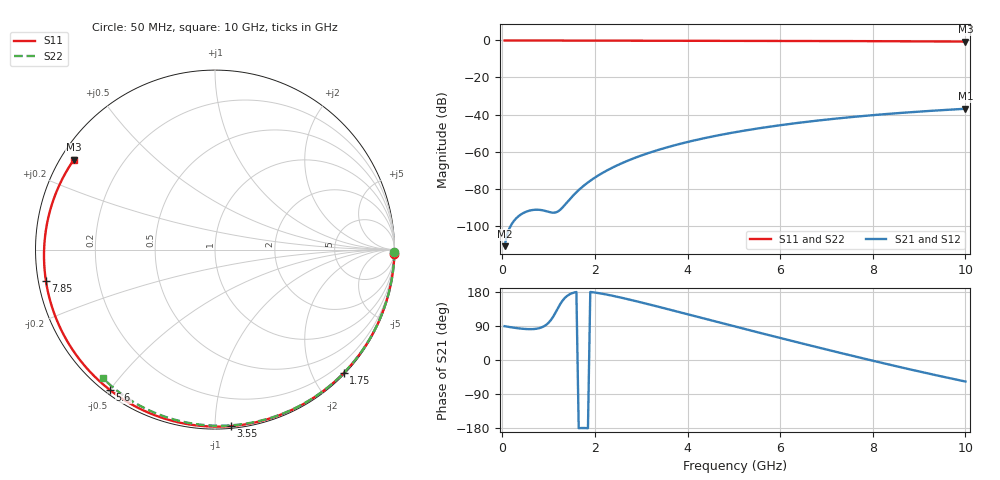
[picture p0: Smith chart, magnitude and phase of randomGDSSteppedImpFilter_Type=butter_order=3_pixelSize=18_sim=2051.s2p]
! freq	dB(S11)	phase(S11)	dB(S12)	phase(S12)
!  dB(S21)	phase(S21)	dB(S22)	phase(S22)
!S-par simulation data
#  GHz  S  DB  R 50
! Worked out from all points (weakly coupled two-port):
!   200 points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, 50 MHz to 10 GHz, reference 50 ohm
!   highest |S21| = -36.90 dB at 10 GHz (marker M1); lowest = -111.1 dB at 50 MHz (marker M2)
!   lowest |S11| = -0.6 dB at 10 GHz (marker M3), VSWR 28.68, Z = 1.89 + j14.5 ohm
!   |S11| at or under -10 dB: nowhere
!   |S22| runs from -0.4 to 0.0 dB; largest |S21 - S12| = 0
!   S11 on the Smith chart (normalised r, x): 50 MHz: 0, -89; 1.75 GHz: 0.02, -2.49; 3.55 GHz: 0.01, -1.09; 5.6 GHz: 0.01, -0.50; 7.85 GHz: 0.02, -0.09; 10 GHz: 0.04, +0.29
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0.05  -0.00 -1.3  -111.13 89.2  -111.13 89.2  -0.00 -0.8
0.4  -0.01 -10.2  -94.02 82.9  -94.02 82.9  -0.01 -6.1
0.8  -0.03 -20.3  -91.50 84.1  -91.50 84.1  -0.02 -12.1
1.2  -0.04 -30.3  -92.42 136.6  -92.42 136.6  -0.02 -18.1
1.65  -0.05 -41.3  -80.83 -179.9  -80.83 -179.9  -0.03 -24.7
1.7  -0.05 -42.5  -79.71 -179.5  -79.71 -179.5  -0.03 -25.5
1.75  -0.06 -43.8  -78.65 -179.4  -78.65 -179.4  -0.03 -26.2
2.05  -0.06 -50.9  -73.27 177.1  -73.27 177.1  -0.04 -30.6
2.45  -0.08 -60.3  -67.82 167.7  -67.82 167.7  -0.05 -36.4
2.9  -0.09 -70.6  -63.08 154.9  -63.08 154.9  -0.06 -42.8
3.4  -0.11 -81.7  -58.89 139.7  -58.89 139.7  -0.07 -49.9
3.55  -0.11 -85.0  -57.79 135.0  -57.79 135.0  -0.07 -52.0
4.3  -0.14 -100.8  -53.13 111.3  -53.13 111.3  -0.09 -62.2
5.05  -0.17 -115.9  -49.46 87.7  -49.46 87.7  -0.11 -72.2
5.6  -0.20 -126.7  -47.23 70.5  -47.23 70.5  -0.13 -79.3
6.15  -0.24 -137.2  -45.29 53.5  -45.29 53.5  -0.15 -86.2
6.7  -0.27 -147.7  -43.59 36.7  -43.59 36.7  -0.18 -93.0
7.3  -0.32 -159.0  -41.98 18.7  -41.98 18.7  -0.21 -100.2
7.85  -0.37 -169.4  -40.68 2.5  -40.68 2.5  -0.25 -106.7
8.35  -0.42 -179.0  -39.63 -12.0  -39.63 -12.0  -0.29 -112.5
9.2  -0.51 164.2  -38.11 -35.7  -38.11 -35.7  -0.36 -122.2
10  -0.61 147.5  -36.90 -56.7  -36.90 -56.7  -0.44 -131.2
